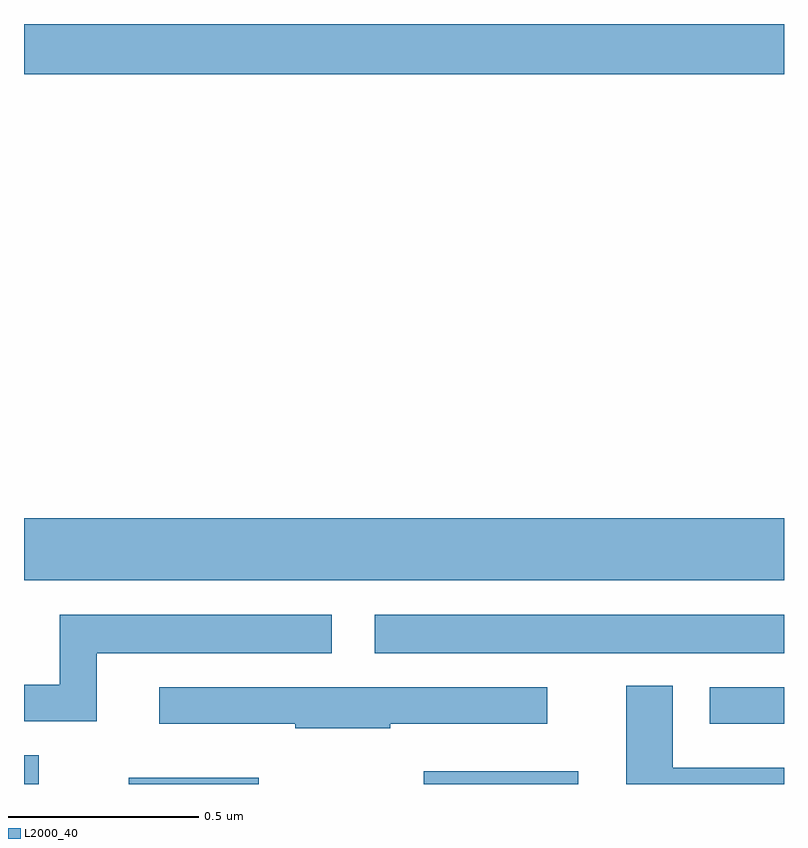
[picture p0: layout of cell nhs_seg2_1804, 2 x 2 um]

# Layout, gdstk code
import gdstk
lib = gdstk.Library(unit=1e-6, precision=1e-09)
def R(c, l, rs):  # rectangles x0, y0, x1, y1
    for r in rs: c.add(gdstk.rectangle(r[:2], r[2:], *l))
def P(c, l, *ps):  # polygons
    for p in ps: c.add(gdstk.Polygon(p, *l))
L2000_40 = (2000, 40)

nhs_seg2_1804 = lib.new_cell('nhs_seg2_1804')
R(nhs_seg2_1804, L2000_40, [(133,613.8,133.039,613.876), (133.275,613.8,133.618,613.816), (134.052,613.8,134.458,613.834), (134.805,613.959,135,614.055), (133.923,614.144,135,614.245), (133,614.336,135,614.5), (133,615.668,135,615.8)])
P(nhs_seg2_1804, L2000_40, [(133.192,614.144),(133.81,614.144),(133.81,614.245),(133.094,614.245),(133.094,614.061),(133,614.061),(133,613.965),(133.192,613.965)],
  [(135,613.843),(134.707,613.843),(134.707,614.059),(134.585,614.059),(134.585,613.8),(135,613.8)],
  [(133.964,613.959),(134.377,613.959),(134.377,614.055),(133.356,614.055),(133.356,613.958),(133.714,613.958),(133.714,613.947),(133.964,613.947)])

lib.write_gds('nhs_seg2_1804.gds')
